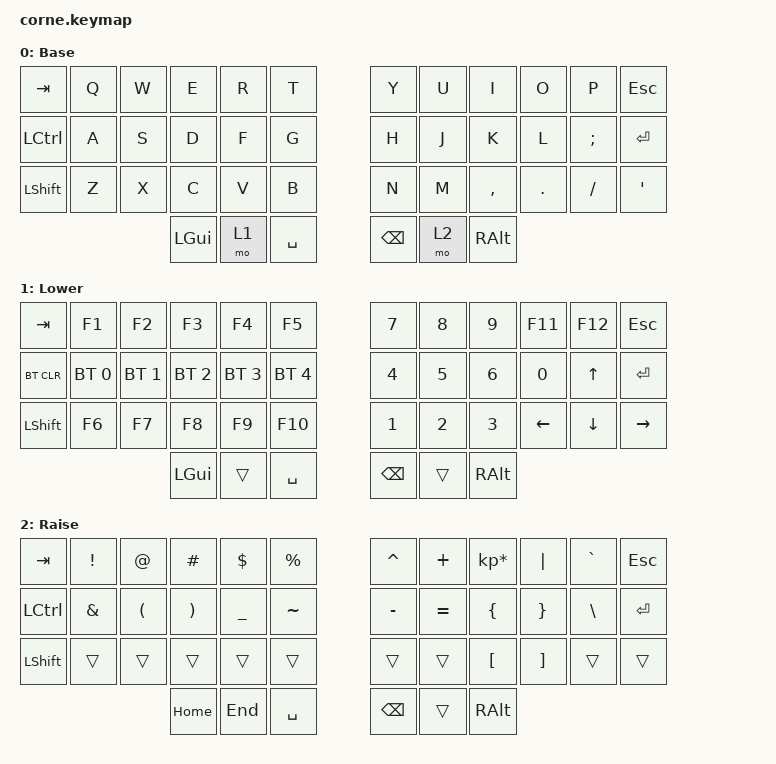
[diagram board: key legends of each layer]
/*
 * Copyright (c) 2020 The ZMK Contributors
 *
 * SPDX-License-Identifier: MIT
 */

#include <behaviors.dtsi>
#include <dt-bindings/zmk/bt.h>
#include <dt-bindings/zmk/keys.h>

/ {
    keymap {
        compatible = "zmk,keymap";

        default_layer {
            // -----------------------------------------------------------------------------------------
            // |  TAB |  Q  |  W  |  E  |  R  |  T  |   |  Y  |  U   |  I  |  O  |  P  | ESC |
            // | CTRL |  A  |  S  |  D  |  F  |  G  |   |  H  |  J   |  K  |  L  |  ;  | RET |
            // | SHFT |  Z  |  X  |  C  |  V  |  B  |   |  N  |  M   |  ,  |  .  |  /  |  '  |
            //                    | GUI | LWR | SPC |   | BKS | RSE  | ALT |

            display-name = "Base";
            bindings = <
&kp TAB    &kp Q  &kp W  &kp E     &kp R  &kp T            &kp Y      &kp U  &kp I      &kp O    &kp P     &kp ESCAPE
&kp LCTRL  &kp A  &kp S  &kp D     &kp F  &kp G            &kp H      &kp J  &kp K      &kp L    &kp SEMI  &kp RET
&kp LSHFT  &kp Z  &kp X  &kp C     &kp V  &kp B            &kp N      &kp M  &kp COMMA  &kp DOT  &kp FSLH  &kp SQT
                         &kp LGUI  &mo 1  &kp SPACE    &kp BACKSPACE  &mo 2  &kp RALT
            >;
        };

        lower_layer {
            // -----------------------------------------------------------------------------------------
            // |  TAB | F1  | F2  | F3  | F4  | F5  |   |  6  |  7  |  8  | F11 | F12 | ESC |
            // | BTCLR| BT1 | BT2 | BT3 | BT4 | BT5 |   |  4  |  5  |  6  |  0  | UP  | RET |
            // | SHFT | F6  | F7  | F8  | F9  | F10 |   |  1  |  2  |  3  | LFT | DWN | RGT |
            //                    | GUI |     | SPC |   | BKS |     | ALT |

            display-name = "Lower";
            bindings = <
&kp TAB     &kp F1        &kp F2        &kp F3        &kp F4        &kp F5           &kp N7     &kp N8  &kp N9    &kp F11   &kp F12   &kp ESCAPE
&bt BT_CLR  &bt BT_SEL 0  &bt BT_SEL 1  &bt BT_SEL 2  &bt BT_SEL 3  &bt BT_SEL 4     &kp N4     &kp N5  &kp N6    &kp N0    &kp UP    &kp RET
&kp LSHFT   &kp F6        &kp F7        &kp F8        &kp F9        &kp F10          &kp N1     &kp N2  &kp N3    &kp LEFT  &kp DOWN  &kp RIGHT
                                        &kp LGUI      &trans        &kp SPACE    &kp BACKSPACE  &trans  &kp RALT
            >;
        };

        raise_layer {
            // -----------------------------------------------------------------------------------------
            // |  TAB |  !  |  @  |  #  |  $  |  %  |   |  ^  |  +  |  *  | "|" |  `  | ESC |
            // | CTRL |  &  |  (  |  )  |  _  |  ~  |   |  -  |  =  |  {  |  }  |  \  | RET |
            // | SHFT |     |     |     |     |     |   |     |     |  [  |  ]  |     |     |
            //                    | HOM | END | SPC |   | BKS |     | ALT |

            display-name = "Raise";
            bindings = <
&kp TAB    &kp EXCL  &kp AT    &kp HASH  &kp DLLR   &kp PRCNT        &kp CARET  &kp PLUS   &kp KP_MULTIPLY  &kp PIPE  &kp GRAVE  &kp ESCAPE
&kp LCTRL  &kp AMPS  &kp LPAR  &kp RPAR  &kp UNDER  &kp TILDE        &kp MINUS  &kp EQUAL  &kp LBRC         &kp RBRC  &kp BSLH   &kp RET
&kp LSHFT  &trans    &trans    &trans    &trans     &trans           &trans     &trans     &kp LBKT         &kp RBKT  &trans     &trans
                               &kp HOME  &kp END    &kp SPACE    &kp BACKSPACE  &trans     &kp RALT
            >;
        };
    };
};

